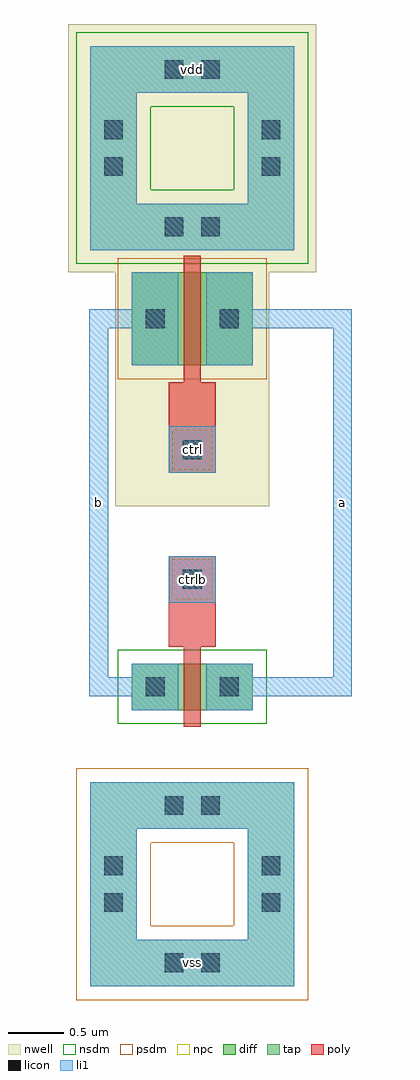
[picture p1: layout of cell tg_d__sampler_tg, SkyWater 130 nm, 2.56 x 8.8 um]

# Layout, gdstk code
import gdstk
lib = gdstk.Library(unit=1e-6, precision=1e-09)
def R(c, l, rs):  # rectangles x0, y0, x1, y1
    for r in rs: c.add(gdstk.rectangle(r[:2], r[2:], *l))
def P(c, l, *ps):  # polygons
    for p in ps: c.add(gdstk.Polygon(p, *l))
nwell = (64, 20)
diff = (65, 20)
tap = (65, 44)
poly = (66, 20)
licon = (66, 44)
li1 = (67, 20)
nsdm = (93, 44)
psdm = (94, 20)
npc = (95, 20)

mos_array_1_1 = lib.new_cell('mos_array$1$1')
R(mos_array_1_1, nwell, [(-0.15,-0.15,1.24,2.11)])
R(mos_array_1_1, diff, [(0,0,1.09,0.84)])
R(mos_array_1_1, poly, [(0.47,-0.15,0.62,0.84), (0.47,0.84,0.62,0.99), (0.47,0.84,0.62,0.99), (0.335,0.99,0.755,1.81)])
R(mos_array_1_1, licon, [(0.125,0.335,0.295,0.505), (0.795,0.335,0.965,0.505), (0.46,1.515,0.63,1.685)])
R(mos_array_1_1, li1, [(0,0,0.42,0.84), (0.67,0,1.09,0.84), (0.335,1.39,0.755,1.81)])
R(mos_array_1_1, psdm, [(-0.125,-0.125,1.215,0.965)])
R(mos_array_1_1, npc, [(0.365,1.42,0.725,1.78)])

mp__pfet_w0p84_l0p15_1 = lib.new_cell('mp__pfet_w0p84_l0p15$1')
mp__pfet_w0p84_l0p15_1.add(gdstk.Reference(mos_array_1_1, (0,0)))

guard_ring_1_1 = lib.new_cell('guard_ring$1$1')
R(guard_ring_1_1, nwell, [(-0.2,-0.2,2.04,2.04)])
P(guard_ring_1_1, tap, [(0,0),(0,1.42),(0.42,1.42),(0.42,0.42),(1.42,0.42),(1.42,1.42),(0,1.42),(0,1.84),(1.84,1.84),(1.84,0)])
R(guard_ring_1_1, licon, [(0.67,0.125,0.84,0.295), (1,0.125,1.17,0.295), (0.125,0.67,0.295,0.84), (1.545,0.67,1.715,0.84), (0.125,1,0.295,1.17), (1.545,1,1.715,1.17), (0.67,1.545,0.84,1.715), (1,1.545,1.17,1.715)])
P(guard_ring_1_1, li1, [(0,0),(0,1.42),(0.42,1.42),(0.42,0.42),(1.42,0.42),(1.42,1.42),(0,1.42),(0,1.84),(1.84,1.84),(1.84,0)])
P(guard_ring_1_1, nsdm, [(-0.125,-0.125),(-0.125,1.295),(0.545,1.295),(0.545,0.545),(1.295,0.545),(1.295,1.295),(-0.125,1.295),(-0.125,1.965),(1.965,1.965),(1.965,-0.125)])

nwell_tap__nwell_tap_1 = lib.new_cell('nwell_tap__nwell_tap$1')
nwell_tap__nwell_tap_1.add(gdstk.Reference(guard_ring_1_1, (0,0)))

mos_array_2 = lib.new_cell('mos_array$2')
R(mos_array_2, diff, [(0,0,1.09,0.42)])
R(mos_array_2, poly, [(0.47,-0.15,0.62,0.42), (0.47,0.42,0.62,0.57), (0.47,0.42,0.62,0.57), (0.335,0.57,0.755,1.39)])
R(mos_array_2, licon, [(0.125,0.125,0.295,0.295), (0.795,0.125,0.965,0.295), (0.46,1.095,0.63,1.265)])
R(mos_array_2, li1, [(0,0,0.42,0.42), (0.67,0,1.09,0.42), (0.335,0.97,0.755,1.39)])
R(mos_array_2, nsdm, [(-0.125,-0.125,1.215,0.545)])
R(mos_array_2, npc, [(0.365,1,0.725,1.36)])

mn__nfet_w0p42_l0p15_1 = lib.new_cell('mn__nfet_w0p42_l0p15$1')
mn__nfet_w0p42_l0p15_1.add(gdstk.Reference(mos_array_2, (0,0)))

guard_ring_2 = lib.new_cell('guard_ring$2')
P(guard_ring_2, tap, [(0,0),(0,1.42),(0.42,1.42),(0.42,0.42),(1.42,0.42),(1.42,1.42),(0,1.42),(0,1.84),(1.84,1.84),(1.84,0)])
R(guard_ring_2, licon, [(0.67,0.125,0.84,0.295), (1,0.125,1.17,0.295), (0.125,0.67,0.295,0.84), (1.545,0.67,1.715,0.84), (0.125,1,0.295,1.17), (1.545,1,1.715,1.17), (0.67,1.545,0.84,1.715), (1,1.545,1.17,1.715)])
P(guard_ring_2, li1, [(0,0),(0,1.42),(0.42,1.42),(0.42,0.42),(1.42,0.42),(1.42,1.42),(0,1.42),(0,1.84),(1.84,1.84),(1.84,0)])
P(guard_ring_2, psdm, [(-0.125,-0.125),(-0.125,1.295),(0.545,1.295),(0.545,0.545),(1.295,0.545),(1.295,1.295),(-0.125,1.295),(-0.125,1.965),(1.965,1.965),(1.965,-0.125)])

psub_tap__psub_tap_1 = lib.new_cell('psub_tap__psub_tap$1')
psub_tap__psub_tap_1.add(gdstk.Reference(guard_ring_2, (0,0)))

tg_d__sampler_tg = lib.new_cell('tg_d__sampler_tg')
tg_d__sampler_tg.add(gdstk.FlexPath([(0.88,3.53),(1.9,3.53),(1.9,0.21),(0.88,0.21)], 0.17, ends="flush", simple_path=True, layer=67, datatype=20))  # li1
tg_d__sampler_tg.add(gdstk.FlexPath([(0.21,0.21),(-0.3,0.21),(-0.3,3.53),(0.21,3.53)], 0.17, ends="flush", simple_path=True, layer=67, datatype=20))  # li1
tg_d__sampler_tg.add(gdstk.Reference(mp__pfet_w0p84_l0p15_1, (0,3.95), x_reflection=True))
tg_d__sampler_tg.add(gdstk.Reference(nwell_tap__nwell_tap_1, (-0.375,4.15)))
tg_d__sampler_tg.add(gdstk.Reference(mn__nfet_w0p42_l0p15_1, (0,0)))
tg_d__sampler_tg.add(gdstk.Reference(psub_tap__psub_tap_1, (-0.375,-2.49)))
tg_d__sampler_tg.add(gdstk.Label('a', (1.9,1.87), layer=67, texttype=5))
tg_d__sampler_tg.add(gdstk.Label('b', (-0.3,1.87), layer=67, texttype=5))
tg_d__sampler_tg.add(gdstk.Label('ctrl', (0.545,2.35), layer=67, texttype=5))
tg_d__sampler_tg.add(gdstk.Label('ctrlb', (0.545,1.18), layer=67, texttype=5))
tg_d__sampler_tg.add(gdstk.Label('vdd', (0.545,5.78), layer=67, texttype=5))
tg_d__sampler_tg.add(gdstk.Label('vss', (0.545,-2.28), layer=67, texttype=5))

lib.write_gds('tg_d__sampler_tg.gds')
